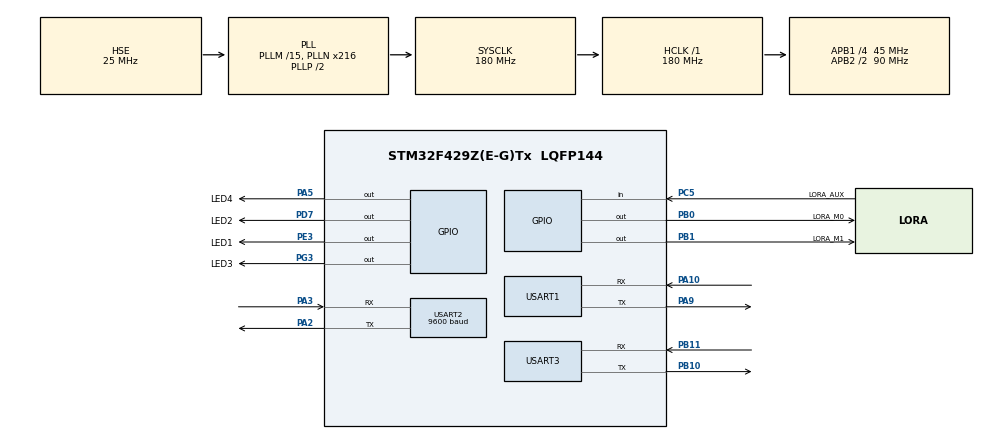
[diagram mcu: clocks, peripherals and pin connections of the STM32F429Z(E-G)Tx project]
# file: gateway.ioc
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Dma.Request0=USART2_RX
Dma.Request1=USART2_TX
Dma.Request2=USART3_RX
Dma.Request3=USART3_TX
Dma.USART2_RX.0.Direction=DMA_PERIPH_TO_MEMORY
Dma.USART2_RX.0.FIFOMode=DMA_FIFOMODE_DISABLE
Dma.USART2_RX.0.Instance=DMA1_Stream5
Dma.USART2_RX.0.MemDataAlignment=DMA_MDATAALIGN_BYTE
Dma.USART2_RX.0.MemInc=DMA_MINC_ENABLE
Dma.USART2_RX.0.Mode=DMA_NORMAL
Dma.USART2_RX.0.PeriphDataAlignment=DMA_PDATAALIGN_BYTE
Dma.USART2_RX.0.PeriphInc=DMA_PINC_DISABLE
Dma.USART2_RX.0.Priority=DMA_PRIORITY_HIGH
Dma.USART2_TX.1.Direction=DMA_MEMORY_TO_PERIPH
Dma.USART2_TX.1.FIFOMode=DMA_FIFOMODE_DISABLE
Dma.USART2_TX.1.Instance=DMA1_Stream6
Dma.USART2_TX.1.MemDataAlignment=DMA_MDATAALIGN_BYTE
Dma.USART2_TX.1.MemInc=DMA_MINC_ENABLE
Dma.USART2_TX.1.Mode=DMA_NORMAL
Dma.USART2_TX.1.PeriphDataAlignment=DMA_PDATAALIGN_BYTE
Dma.USART2_TX.1.PeriphInc=DMA_PINC_DISABLE
Dma.USART2_TX.1.Priority=DMA_PRIORITY_LOW
Dma.USART3_RX.2.Direction=DMA_PERIPH_TO_MEMORY
Dma.USART3_RX.2.FIFOMode=DMA_FIFOMODE_DISABLE
Dma.USART3_RX.2.Instance=DMA1_Stream1
Dma.USART3_RX.2.MemDataAlignment=DMA_MDATAALIGN_BYTE
Dma.USART3_RX.2.MemInc=DMA_MINC_ENABLE
Dma.USART3_RX.2.Mode=DMA_NORMAL
Dma.USART3_RX.2.PeriphDataAlignment=DMA_PDATAALIGN_BYTE
Dma.USART3_RX.2.PeriphInc=DMA_PINC_DISABLE
Dma.USART3_RX.2.Priority=DMA_PRIORITY_LOW
Dma.USART3_TX.3.Direction=DMA_MEMORY_TO_PERIPH
Dma.USART3_TX.3.FIFOMode=DMA_FIFOMODE_DISABLE
Dma.USART3_TX.3.Instance=DMA1_Stream3
Dma.USART3_TX.3.MemDataAlignment=DMA_MDATAALIGN_BYTE
Dma.USART3_TX.3.MemInc=DMA_MINC_ENABLE
Dma.USART3_TX.3.Mode=DMA_NORMAL
Dma.USART3_TX.3.PeriphDataAlignment=DMA_PDATAALIGN_BYTE
Dma.USART3_TX.3.PeriphInc=DMA_PINC_DISABLE
Dma.USART3_TX.3.Priority=DMA_PRIORITY_LOW
Mcu.Family=STM32F4
Mcu.Name=STM32F429Z(E-G)Tx
Mcu.Package=LQFP144
NVIC.DMA1_Stream1_IRQn=true\:0\:0\:false\:false\:true\:false\:true\:true
NVIC.DMA1_Stream3_IRQn=true\:0\:0\:false\:false\:true\:false\:true\:true
NVIC.DMA1_Stream5_IRQn=true\:0\:0\:false\:false\:true\:false\:true\:true
NVIC.DMA1_Stream6_IRQn=true\:0\:0\:false\:false\:true\:false\:true\:true
NVIC.PriorityGroup=NVIC_PRIORITYGROUP_4
NVIC.USART2_IRQn=true\:0\:0\:false\:false\:true\:true\:true\:true
NVIC.USART3_IRQn=true\:0\:0\:false\:false\:true\:true\:true\:true
PA10.Mode=Asynchronous
PA10.Signal=USART1_RX
PA13.Mode=Serial_Wire
PA13.Signal=SYS_JTMS-SWDIO
PA14.Mode=Serial_Wire
PA14.Signal=SYS_JTCK-SWCLK
PA2.Mode=Asynchronous
PA2.Signal=USART2_TX
PA3.GPIO_PuPd=GPIO_PULLUP
PA3.Mode=Asynchronous
PA3.Signal=USART2_RX
PA5.GPIO_Label=LED4
PA5.Signal=GPIO_Output
PA9.Mode=Asynchronous
PA9.Signal=USART1_TX
PB0.GPIO_Label=LORA_M0
PB0.Signal=GPIO_Output
PB1.GPIO_Label=LORA_M1
PB1.Signal=GPIO_Output
PB10.Mode=Asynchronous
PB10.Signal=USART3_TX
PB11.GPIO_ModeDefaultPP=GPIO_MODE_AF_PP
PB11.GPIO_PuPd=GPIO_PULLUP
PB11.GPIO_Speed=GPIO_SPEED_FREQ_VERY_HIGH
PB11.Mode=Asynchronous
PB11.Signal=USART3_RX
PC5.GPIO_Label=LORA_AUX
PC5.Signal=GPIO_Input
PD7.GPIO_Label=LED2
PD7.Signal=GPIO_Output
PE3.GPIO_Label=LED1
PE3.Signal=GPIO_Output
PG3.GPIO_Label=LED3
PG3.Signal=GPIO_Output
PH0/OSC_IN.Mode=HSE-External-Oscillator
PH0/OSC_IN.Signal=RCC_OSC_IN
PH1/OSC_OUT.Mode=HSE-External-Oscillator
PH1/OSC_OUT.Signal=RCC_OSC_OUT
ProjectManager.HeapSize=0x200
ProjectManager.StackSize=0x400
ProjectManager.TargetToolchain=STM32CubeIDE
RCC.48MHZClocksFreq_Value=90000000
RCC.AHBFreq_Value=180000000
RCC.APB1CLKDivider=RCC_HCLK_DIV4
RCC.APB1Freq_Value=45000000
RCC.APB1TimFreq_Value=90000000
RCC.APB2CLKDivider=RCC_HCLK_DIV2
RCC.APB2Freq_Value=90000000
RCC.APB2TimFreq_Value=180000000
RCC.CortexFreq_Value=180000000
RCC.HCLKFreq_Value=180000000
RCC.HSE_VALUE=25000000
RCC.HSI_VALUE=16000000
RCC.LSE_VALUE=32768
RCC.PLLM=15
RCC.PLLN=216
RCC.PLLSourceVirtual=RCC_PLLSOURCE_HSE
RCC.SYSCLKFreq_VALUE=180000000
RCC.SYSCLKSource=RCC_SYSCLKSOURCE_PLLCLK
RCC.VCOOutputFreq_Value=360000000
USART1.VirtualMode=VM_ASYNC
USART2.BaudRate=9600
USART2.VirtualMode=VM_ASYNC
USART3.VirtualMode=VM_ASYNC
board=custom

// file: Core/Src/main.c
/* USER CODE BEGIN Header */
/**
  ******************************************************************************
  * @file           : main.c
  * @brief          : Main program body
  ******************************************************************************
  * @attention
  *
  * Copyright (c) 2025 STMicroelectronics.
  * All rights reserved.
  *
  * This software is licensed under terms that can be found in the LICENSE file
  * in the root directory of this software component.
  * If no LICENSE file comes with this software, it is provided AS-IS.
  *
  ******************************************************************************
  */
/* USER CODE END Header */
#include "main.h"
#include "dma.h"
#include "usart.h"
#include "gpio.h"

/* USER CODE BEGIN Includes */
#include <stdio.h>
#include <string.h>
#include "lora/lora.h"
/* USER CODE END Includes */

/* USER CODE BEGIN PV */
extern DMA_HandleTypeDef hdma_usart2_rx;
// usart2 receive buffer
uint8_t rx2_buff[RX_BUFF_SIZE] = {0};
// unique_id address
static uint32_t *id_addr = (uint32_t *) 0x1FFF7A10;
// device1,2,3 unique id
uint32_t device_id[3] = {892499600, 892478838, 892497552};
/* USER CODE END PV */

void SystemClock_Config(void);
/* USER CODE BEGIN PFP */
#ifdef __GNUC__
#define PUTCHAR_PROTOTYPE int __io_putchar(int ch)
#else
#define PUTCHAR_PROTOTYPE int fputc(int ch, FILE *f)
#endif
/* USER CODE END PFP */

int main(void)
{

  /* MCU Configuration--------------------------------------------------------*/

  /* Reset of all peripherals, Initializes the Flash interface and the Systick. */
  HAL_Init();

  /* Configure the system clock */
  SystemClock_Config();

  /* Initialize all configured peripherals */
  MX_GPIO_Init();
  MX_DMA_Init();
  MX_USART1_UART_Init();
  MX_USART2_UART_Init();
  MX_USART3_UART_Init();
  /* USER CODE BEGIN 2 */
  HAL_UARTEx_ReceiveToIdle_DMA(&huart2, rx2_buff, RX_BUFF_SIZE);
  __HAL_DMA_DISABLE_IT(&hdma_usart2_rx, DMA_IT_HT);
  if (*id_addr == device_id[0]) {
    HAL_GPIO_WritePin(LED1_GPIO_Port, LED1_Pin, GPIO_PIN_SET);
  }
  /* USER CODE END 2 */

  /* Infinite loop */
  /* USER CODE BEGIN WHILE */
  while (1)
  {
    printf("temp: %f\r\n", temperature.val);
    printf("humi: %f\r\n", humidity.val);
    printf("smoke: %f\r\n", smoke.val);
    HAL_Delay(10000);
    /* USER CODE END WHILE */

  }
}

void SystemClock_Config(void)
{
  RCC_OscInitTypeDef RCC_OscInitStruct = {0};
  RCC_ClkInitTypeDef RCC_ClkInitStruct = {0};

  /** Configure the main internal regulator output voltage
  */
  __HAL_RCC_PWR_CLK_ENABLE();
  __HAL_PWR_VOLTAGESCALING_CONFIG(PWR_REGULATOR_VOLTAGE_SCALE1);

  /** Initializes the RCC Oscillators according to the specified parameters
  * in the RCC_OscInitTypeDef structure.
  */
  RCC_OscInitStruct.OscillatorType = RCC_OSCILLATORTYPE_HSE;
  RCC_OscInitStruct.HSEState = RCC_HSE_ON;
  RCC_OscInitStruct.PLL.PLLState = RCC_PLL_ON;
  RCC_OscInitStruct.PLL.PLLSource = RCC_PLLSOURCE_HSE;
  RCC_OscInitStruct.PLL.PLLM = 15;
  RCC_OscInitStruct.PLL.PLLN = 216;
  RCC_OscInitStruct.PLL.PLLP = RCC_PLLP_DIV2;
  RCC_OscInitStruct.PLL.PLLQ = 4;
  if (HAL_RCC_OscConfig(&RCC_OscInitStruct) != HAL_OK)
  {
    Error_Handler();
  }

  /** Activate the Over-Drive mode
  */
  if (HAL_PWREx_EnableOverDrive() != HAL_OK)
  {
    Error_Handler();
  }

  /** Initializes the CPU, AHB and APB buses clocks
  */
  RCC_ClkInitStruct.ClockType = RCC_CLOCKTYPE_HCLK|RCC_CLOCKTYPE_SYSCLK
                              |RCC_CLOCKTYPE_PCLK1|RCC_CLOCKTYPE_PCLK2;
  RCC_ClkInitStruct.SYSCLKSource = RCC_SYSCLKSOURCE_PLLCLK;
  RCC_ClkInitStruct.AHBCLKDivider = RCC_SYSCLK_DIV1;
  RCC_ClkInitStruct.APB1CLKDivider = RCC_HCLK_DIV4;
  RCC_ClkInitStruct.APB2CLKDivider = RCC_HCLK_DIV2;

  if (HAL_RCC_ClockConfig(&RCC_ClkInitStruct, FLASH_LATENCY_5) != HAL_OK)
  {
    Error_Handler();
  }
}

/* USER CODE BEGIN 4 */
PUTCHAR_PROTOTYPE
{
  HAL_UART_Transmit(&huart3, (uint8_t *) &ch, 1, 0xFFFF);
  return ch;
}

void HAL_UARTEx_RxEventCallback(UART_HandleTypeDef *huart, uint16_t Size)
{
  if (huart->Instance == USART2) {
    lora_parse_frame(rx2_buff);
    memset(rx2_buff, 0x00, sizeof(rx2_buff));
    HAL_UARTEx_ReceiveToIdle_DMA(&huart2, rx2_buff, RX_BUFF_SIZE);
    __HAL_DMA_DISABLE_IT(&hdma_usart2_rx, DMA_IT_HT);
  }
}
/* USER CODE END 4 */

void Error_Handler(void)
{
  __disable_irq();
  while (1)
  {
  }
}
